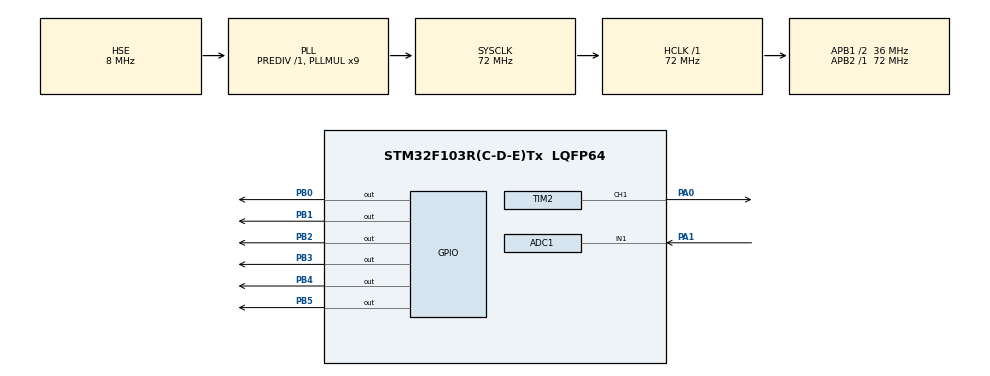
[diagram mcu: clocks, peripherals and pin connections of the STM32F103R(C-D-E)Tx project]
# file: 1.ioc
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ADC1.Channel-0\#ChannelRegularConversion=ADC_CHANNEL_1
ADC1.NbrOfConversionFlag=1
ADC1.Rank-0\#ChannelRegularConversion=1
ADC1.SamplingTime-0\#ChannelRegularConversion=ADC_SAMPLETIME_1CYCLE_5
ADC1.master=1
Mcu.Family=STM32F1
Mcu.Name=STM32F103R(C-D-E)Tx
Mcu.Package=LQFP64
NVIC.ADC1_2_IRQn=true\:0\:0\:false\:false\:true\:true\:true\:true
NVIC.PriorityGroup=NVIC_PRIORITYGROUP_4
NVIC.TIM2_IRQn=true\:0\:0\:false\:false\:true\:true\:true\:true
PA0-WKUP.Signal=S_TIM2_CH1_ETR
PA1.Signal=ADCx_IN1
PA13.Mode=Serial_Wire
PA13.Signal=SYS_JTMS-SWDIO
PA14.Mode=Serial_Wire
PA14.Signal=SYS_JTCK-SWCLK
PB0.Signal=GPIO_Output
PB1.Signal=GPIO_Output
PB2.Signal=GPIO_Output
PB3.Signal=GPIO_Output
PB4.Signal=GPIO_Output
PB5.Signal=GPIO_Output
PD0-OSC_IN.Mode=HSE-External-Oscillator
PD0-OSC_IN.Signal=RCC_OSC_IN
PD1-OSC_OUT.Mode=HSE-External-Oscillator
PD1-OSC_OUT.Signal=RCC_OSC_OUT
ProjectManager.HeapSize=0x200
ProjectManager.StackSize=0x400
ProjectManager.TargetToolchain=MDK-ARM V5.32
RCC.ADCPresc=RCC_ADCPCLK2_DIV6
RCC.AHBFreq_Value=72000000
RCC.APB1CLKDivider=RCC_HCLK_DIV2
RCC.APB1Freq_Value=36000000
RCC.APB1TimFreq_Value=72000000
RCC.APB2Freq_Value=72000000
RCC.APB2TimFreq_Value=72000000
RCC.HCLKFreq_Value=72000000
RCC.PLLMUL=RCC_PLL_MUL9
RCC.PLLSourceVirtual=RCC_PLLSOURCE_HSE
RCC.SYSCLKFreq_VALUE=72000000
RCC.SYSCLKSource=RCC_SYSCLKSOURCE_PLLCLK
RCC.USBFreq_Value=72000000
SH.ADCx_IN1.0=ADC1_IN1,IN1
SH.S_TIM2_CH1_ETR.0=TIM2_CH1,PWM Generation1 CH1
TIM2.Channel-PWM\ Generation1\ CH1=TIM_CHANNEL_1
TIM2.Period=9090
TIM2.Prescaler=71
TIM2.Pulse-PWM\ Generation1\ CH1=7090
board=custom

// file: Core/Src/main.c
/* USER CODE BEGIN Header */
/**
  ******************************************************************************
  * @file           : main.c
  * @brief          : Main program body
  ******************************************************************************
  * @attention
  *
  * Copyright (c) 2026 STMicroelectronics.
  * All rights reserved.
  *
  * This software is licensed under terms that can be found in the LICENSE file
  * in the root directory of this software component.
  * If no LICENSE file comes with this software, it is provided AS-IS.
  *
  ******************************************************************************
  */
/* USER CODE END Header */
#include "main.h"

/* USER CODE BEGIN Includes */
#include "lcd.h"
#include <string.h>
/* USER CODE END Includes */

ADC_HandleTypeDef hadc1;

TIM_HandleTypeDef htim2;

/* USER CODE BEGIN PV */
uint16_t adc_value;
uint16_t adc_scaled;
Lcd_HandleTypeDef lcd;
#define RS_PIN GPIO_PIN_0
#define RS_PORT GPIOB
#define ENB_PIN GPIO_PIN_1
#define ENB_PORT GPIOB
#define LCD_PORTS {GPIOB,GPIOB,GPIOB,GPIOB}
#define LCD_PINS {GPIO_PIN_2,GPIO_PIN_3,GPIO_PIN_4,GPIO_PIN_5}

char lcd_buffer[15];
/* USER CODE END PV */

void SystemClock_Config(void);
static void MX_GPIO_Init(void);
static void MX_ADC1_Init(void);
static void MX_TIM2_Init(void);

/* USER CODE BEGIN 0 */
//void HAL_ADC_CONVCPLTCALLBACK(ADC_HandleTypeDef hadc1){
//	if (hadc1->instanse == ADC1){
//
//	}
//}
/* USER CODE END 0 */

int main(void)
{

  /* MCU Configuration--------------------------------------------------------*/

  /* Reset of all peripherals, Initializes the Flash interface and the Systick. */
  HAL_Init();

  /* Configure the system clock */
  SystemClock_Config();

  /* Initialize all configured peripherals */
  MX_GPIO_Init();
  MX_ADC1_Init();
  MX_TIM2_Init();
  /* USER CODE BEGIN 2 */
	Lcd_PortType Ports[] = LCD_PORTS;
	Lcd_PinType Pins[]= LCD_PINS;
	Lcd_HandleTypeDef lcd;
	lcd = Lcd_create(Ports, Pins, RS_PORT, RS_PIN, ENB_PORT, ENB_PIN,LCD_4_BIT_MODE);

	Lcd_cursor(&lcd, 0,0);
	Lcd_string(&lcd , "ADC: ");
	HAL_Delay(500);
	Lcd_clear(&lcd);
	HAL_TIM_PWM_Start(&htim2,TIM_CHANNEL_1);

  /* USER CODE END 2 */

  /* Infinite loop */
  /* USER CODE BEGIN WHILE */
  while (1)
  {
			HAL_ADC_Start(&hadc1);
		if (HAL_ADC_PollForConversion(&hadc1 , 500) == HAL_OK){
			adc_value = HAL_ADC_GetValue(&hadc1);
			adc_scaled = adc_value * 330 / 4095;
			uint32_t mapped_duty = (adc_value * (9090+1)) /4095; //*arr+1/4095
			uint8_t whole_part = adc_scaled / 100; // Extracts the '3'
			uint8_t decimal_part = adc_scaled % 100; // Extracts the '30'
			snprintf(lcd_buffer, sizeof(lcd_buffer), "Volt: %d.%02d V ", whole_part , decimal_part);
			Lcd_cursor(&lcd, 0,0);
			Lcd_string(&lcd ,lcd_buffer);
			//__HAL_TIM_SET_COMPARE(&htim2, TIM_CHANNEL_1, 2.6/3.3 * 9091);
			__HAL_TIM_SET_COMPARE(&htim2, TIM_CHANNEL_1,  mapped_duty);
		}
    /* USER CODE END WHILE */

  }
}

void SystemClock_Config(void)
{
  RCC_OscInitTypeDef RCC_OscInitStruct = {0};
  RCC_ClkInitTypeDef RCC_ClkInitStruct = {0};
  RCC_PeriphCLKInitTypeDef PeriphClkInit = {0};

  /** Initializes the RCC Oscillators according to the specified parameters
  * in the RCC_OscInitTypeDef structure.
  */
  RCC_OscInitStruct.OscillatorType = RCC_OSCILLATORTYPE_HSE;
  RCC_OscInitStruct.HSEState = RCC_HSE_ON;
  RCC_OscInitStruct.HSEPredivValue = RCC_HSE_PREDIV_DIV1;
  RCC_OscInitStruct.HSIState = RCC_HSI_ON;
  RCC_OscInitStruct.PLL.PLLState = RCC_PLL_ON;
  RCC_OscInitStruct.PLL.PLLSource = RCC_PLLSOURCE_HSE;
  RCC_OscInitStruct.PLL.PLLMUL = RCC_PLL_MUL9;
  if (HAL_RCC_OscConfig(&RCC_OscInitStruct) != HAL_OK)
  {
    Error_Handler();
  }

  /** Initializes the CPU, AHB and APB buses clocks
  */
  RCC_ClkInitStruct.ClockType = RCC_CLOCKTYPE_HCLK|RCC_CLOCKTYPE_SYSCLK
                              |RCC_CLOCKTYPE_PCLK1|RCC_CLOCKTYPE_PCLK2;
  RCC_ClkInitStruct.SYSCLKSource = RCC_SYSCLKSOURCE_PLLCLK;
  RCC_ClkInitStruct.AHBCLKDivider = RCC_SYSCLK_DIV1;
  RCC_ClkInitStruct.APB1CLKDivider = RCC_HCLK_DIV2;
  RCC_ClkInitStruct.APB2CLKDivider = RCC_HCLK_DIV1;

  if (HAL_RCC_ClockConfig(&RCC_ClkInitStruct, FLASH_LATENCY_2) != HAL_OK)
  {
    Error_Handler();
  }
  PeriphClkInit.PeriphClockSelection = RCC_PERIPHCLK_ADC;
  PeriphClkInit.AdcClockSelection = RCC_ADCPCLK2_DIV6;
  if (HAL_RCCEx_PeriphCLKConfig(&PeriphClkInit) != HAL_OK)
  {
    Error_Handler();
  }
}

static void MX_ADC1_Init(void)
{

  ADC_ChannelConfTypeDef sConfig = {0};

  /** Common config
  */
  hadc1.Instance = ADC1;
  hadc1.Init.ScanConvMode = ADC_SCAN_DISABLE;
  hadc1.Init.ContinuousConvMode = DISABLE;
  hadc1.Init.DiscontinuousConvMode = DISABLE;
  hadc1.Init.ExternalTrigConv = ADC_SOFTWARE_START;
  hadc1.Init.DataAlign = ADC_DATAALIGN_RIGHT;
  hadc1.Init.NbrOfConversion = 1;
  if (HAL_ADC_Init(&hadc1) != HAL_OK)
  {
    Error_Handler();
  }

  /** Configure Regular Channel
  */
  sConfig.Channel = ADC_CHANNEL_1;
  sConfig.Rank = ADC_REGULAR_RANK_1;
  sConfig.SamplingTime = ADC_SAMPLETIME_1CYCLE_5;
  if (HAL_ADC_ConfigChannel(&hadc1, &sConfig) != HAL_OK)
  {
    Error_Handler();
  }

}

static void MX_TIM2_Init(void)
{

  TIM_MasterConfigTypeDef sMasterConfig = {0};
  TIM_OC_InitTypeDef sConfigOC = {0};

  htim2.Instance = TIM2;
  htim2.Init.Prescaler = 71;
  htim2.Init.CounterMode = TIM_COUNTERMODE_UP;
  htim2.Init.Period = 9090;
  htim2.Init.ClockDivision = TIM_CLOCKDIVISION_DIV1;
  htim2.Init.AutoReloadPreload = TIM_AUTORELOAD_PRELOAD_DISABLE;
  if (HAL_TIM_PWM_Init(&htim2) != HAL_OK)
  {
    Error_Handler();
  }
  sMasterConfig.MasterOutputTrigger = TIM_TRGO_RESET;
  sMasterConfig.MasterSlaveMode = TIM_MASTERSLAVEMODE_DISABLE;
  if (HAL_TIMEx_MasterConfigSynchronization(&htim2, &sMasterConfig) != HAL_OK)
  {
    Error_Handler();
  }
  sConfigOC.OCMode = TIM_OCMODE_PWM1;
  sConfigOC.Pulse = 7090;
  sConfigOC.OCPolarity = TIM_OCPOLARITY_HIGH;
  sConfigOC.OCFastMode = TIM_OCFAST_DISABLE;
  if (HAL_TIM_PWM_ConfigChannel(&htim2, &sConfigOC, TIM_CHANNEL_1) != HAL_OK)
  {
    Error_Handler();
  }
  HAL_TIM_MspPostInit(&htim2);

}

static void MX_GPIO_Init(void)
{
  GPIO_InitTypeDef GPIO_InitStruct = {0};

  /* GPIO Ports Clock Enable */
  __HAL_RCC_GPIOD_CLK_ENABLE();
  __HAL_RCC_GPIOA_CLK_ENABLE();
  __HAL_RCC_GPIOB_CLK_ENABLE();

  /*Configure GPIO pin Output Level */
  HAL_GPIO_WritePin(GPIOB, GPIO_PIN_0|GPIO_PIN_1|GPIO_PIN_2|GPIO_PIN_3
                          |GPIO_PIN_4|GPIO_PIN_5, GPIO_PIN_RESET);

  /*Configure GPIO pins : PB0 PB1 PB2 PB3
                           PB4 PB5 */
  GPIO_InitStruct.Pin = GPIO_PIN_0|GPIO_PIN_1|GPIO_PIN_2|GPIO_PIN_3
                          |GPIO_PIN_4|GPIO_PIN_5;
  GPIO_InitStruct.Mode = GPIO_MODE_OUTPUT_PP;
  GPIO_InitStruct.Pull = GPIO_NOPULL;
  GPIO_InitStruct.Speed = GPIO_SPEED_FREQ_LOW;
  HAL_GPIO_Init(GPIOB, &GPIO_InitStruct);

}

void Error_Handler(void)
{
  __disable_irq();
  while (1)
  {
  }
}
